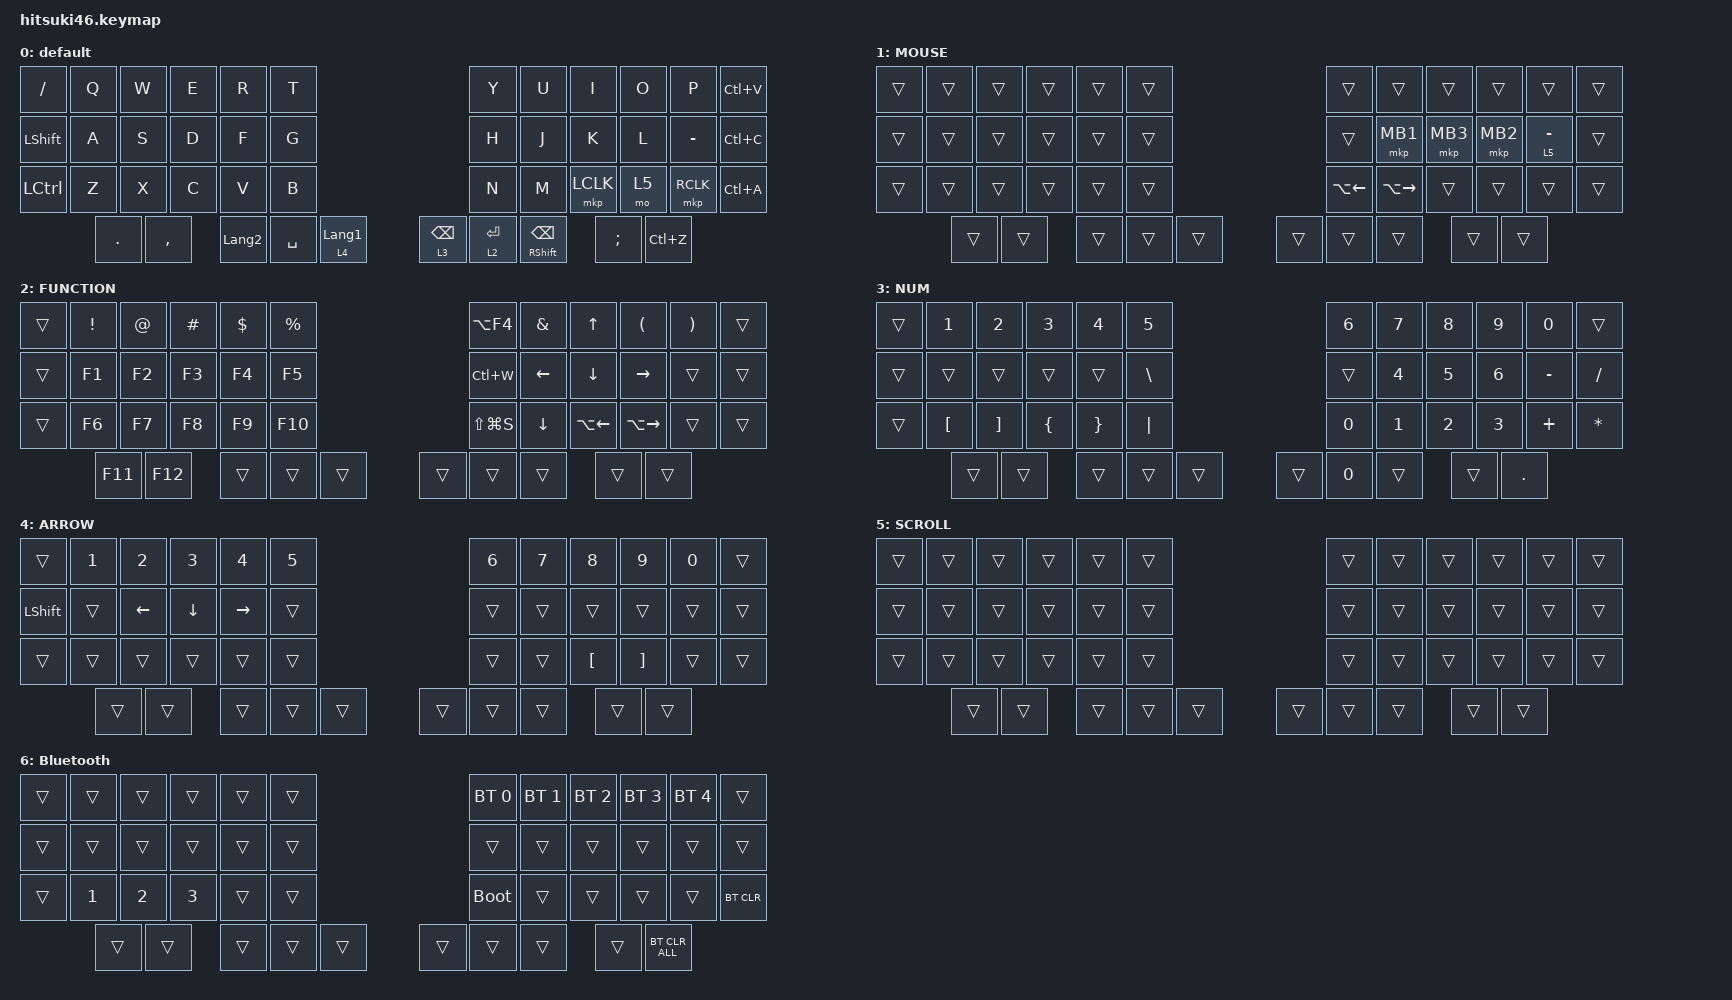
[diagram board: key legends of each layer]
#include <behaviors.dtsi>
#include <dt-bindings/zmk/bt.h>
#include <dt-bindings/zmk/keys.h>
#include <dt-bindings/zmk/pointing.h>

&mt {
    flavor = "balanced";
    quick-tap-ms = <0>;
};

// &trackball {
//     // Note: automouse-layer and scroll-layers are no longer supported in badjeff/zmk-pmw3610-driver
//     // These features should now be configured using layer-based zmk,input-listener in keymap
//     // automouse-layer = <1>;
//     // scroll-layers = <5>;
// };

/ {
    combos {
        compatible = "zmk,combos";

        tab {
            bindings = <&kp TAB>;
            key-positions = <11 12>;
        };

        shift_tab {
            bindings = <&kp LS(TAB)>;
            key-positions = <12 13>;
        };

        muhennkann {
            bindings = <&to_layer_0 INT_MUHENKAN>;
            key-positions = <11 10>;
        };

        double_quotation {
            bindings = <&kp DOUBLE_QUOTES>;
            key-positions = <20 21>;
        };

        eq {
            bindings = <&kp EQUAL>;
            key-positions = <24 25>;
        };
    };

    macros {
        to_layer_0: to_layer_0 {
            compatible = "zmk,behavior-macro-one-param";
            #binding-cells = <1>;
            bindings = <&to 0 &macro_param_1to1 &kp MACRO_PLACEHOLDER>;
            label = "TO_LAYER_0";
        };
    };

    behaviors {
        lt_to_layer_0: lt_to_layer_0 {
            compatible = "zmk,behavior-hold-tap";
            label = "LAYER_TAP_TO_0";
            bindings = <&mo>, <&to_layer_0>;

            #binding-cells = <2>;
            tapping-term-ms = <200>;
        };

        lt_mbp: lt_mbp {
            compatible = "zmk,behavior-hold-tap";
            label = "LT_MBP";
            bindings = <&mo>, <&mkp>;

            #binding-cells = <2>;
            tapping-term-ms = <200>;
        };
    };

    keymap {
        compatible = "zmk,keymap";

        default {
            bindings = <
&kp SLASH         &kp Q       &kp W      &kp E           &kp R      &kp T             &kp Y            &kp U        &kp I                 &kp O          &kp P      &kp LC(V)
&kp LEFT_SHIFT    &kp A       &kp S      &kp D           &kp F      &kp G             &kp H            &kp J        &kp K                 &kp L          &kp MINUS  &kp LC(C)
&kp LEFT_CONTROL  &kp Z       &kp X      &kp C           &kp V      &kp B             &kp N            &kp M        &mkp LCLK             &mo 5          &mkp RCLK  &kp LC(A)
                  &kp PERIOD  &kp COMMA  &kp LANGUAGE_2  &kp SPACE  &lt 4 LANGUAGE_1  &lt 3 BACKSPACE  &lt 2 ENTER  &mt RSHIFT BACKSPACE  &kp SEMICOLON  &kp LC(Z)
            >;
        };

        MOUSE {
            bindings = <
&trans  &trans  &trans  &trans  &trans  &trans  &trans              &trans               &trans    &trans    &trans       &trans
&trans  &trans  &trans  &trans  &trans  &trans  &trans              &mkp MB1             &mkp MB3  &mkp MB2  &lt 5 MINUS  &trans
&trans  &trans  &trans  &trans  &trans  &trans  &kp LA(LEFT_ARROW)  &kp LA(RIGHT_ARROW)  &trans    &trans    &trans       &trans
        &trans  &trans  &trans  &trans  &trans  &trans              &trans               &trans    &trans    &trans
            >;
        };

        FUNCTION {
            bindings = <
&trans  &kp EXCLAMATION  &kp AT_SIGN  &kp HASH  &kp DOLLAR  &kp PERCENT  &kp LA(F4)     &kp AMPERSAND   &kp UP_ARROW    &kp LEFT_PARENTHESIS  &kp RIGHT_PARENTHESIS  &trans
&trans  &kp F1           &kp F2       &kp F3    &kp F4      &kp F5       &kp LC(W)      &kp LEFT_ARROW  &kp DOWN_ARROW  &kp RIGHT_ARROW       &trans                 &trans
&trans  &kp F6           &kp F7       &kp F8    &kp F9      &kp F10      &kp LS(LG(S))  &kp DOWN_ARROW  &kp LA(LEFT)    &kp LA(RIGHT)         &trans                 &trans
        &kp F11          &kp F12      &trans    &trans      &trans       &trans         &trans          &trans          &trans                &trans
            >;
        };

        NUM {
            bindings = <
&trans  &kp N1            &kp N2             &kp N3          &kp N4           &kp N5         &kp N6        &kp N7        &kp N8        &kp N9        &kp N0      &trans
&trans  &trans            &trans             &trans          &trans           &kp BACKSLASH  &trans        &kp N4        &kp N5        &kp N6        &kp MINUS   &kp SLASH
&trans  &kp LEFT_BRACKET  &kp RIGHT_BRACKET  &kp LEFT_BRACE  &kp RIGHT_BRACE  &kp PIPE       &kp NUMBER_0  &kp NUMBER_1  &kp NUMBER_2  &kp NUMBER_3  &kp PLUS    &kp ASTERISK
        &trans            &trans             &trans          &trans           &trans         &trans        &kp NUMBER_0  &trans        &trans        &kp PERIOD
            >;
        };

        ARROW {
            bindings = <
&trans          &kp NUMBER_1  &kp NUMBER_2  &kp NUMBER_3  &kp NUMBER_4  &kp NUMBER_5  &kp NUMBER_6  &kp NUMBER_7  &kp NUMBER_8      &kp NUMBER_9       &kp NUMBER_0  &trans
&kp LEFT_SHIFT  &trans        &kp LEFT      &kp DOWN      &kp RIGHT     &trans        &trans        &trans        &trans            &trans             &trans        &trans
&trans          &trans        &trans        &trans        &trans        &trans        &trans        &trans        &kp LEFT_BRACKET  &kp RIGHT_BRACKET  &trans        &trans
                &trans        &trans        &trans        &trans        &trans        &trans        &trans        &trans            &trans             &trans
            >;
        };

        SCROLL {
            bindings = <
&trans  &trans  &trans  &trans  &trans  &trans  &trans  &trans  &trans  &trans  &trans  &trans
&trans  &trans  &trans  &trans  &trans  &trans  &trans  &trans  &trans  &trans  &trans  &trans
&trans  &trans  &trans  &trans  &trans  &trans  &trans  &trans  &trans  &trans  &trans  &trans
        &trans  &trans  &trans  &trans  &trans  &trans  &trans  &trans  &trans  &trans
            >;
        };

        Bluetooth {
            bindings = <
&trans  &trans        &trans        &trans        &trans  &trans  &bt BT_SEL 0  &bt BT_SEL 1  &bt BT_SEL 2  &bt BT_SEL 3  &bt BT_SEL 4    &trans
&trans  &trans        &trans        &trans        &trans  &trans  &trans        &trans        &trans        &trans        &trans          &trans
&trans  &kp NUMBER_1  &kp NUMBER_2  &kp NUMBER_3  &trans  &trans  &bootloader   &trans        &trans        &trans        &trans          &bt BT_CLR
        &trans        &trans        &trans        &trans  &trans  &trans        &trans        &trans        &trans        &bt BT_CLR_ALL
            >;
        };
    };
};
